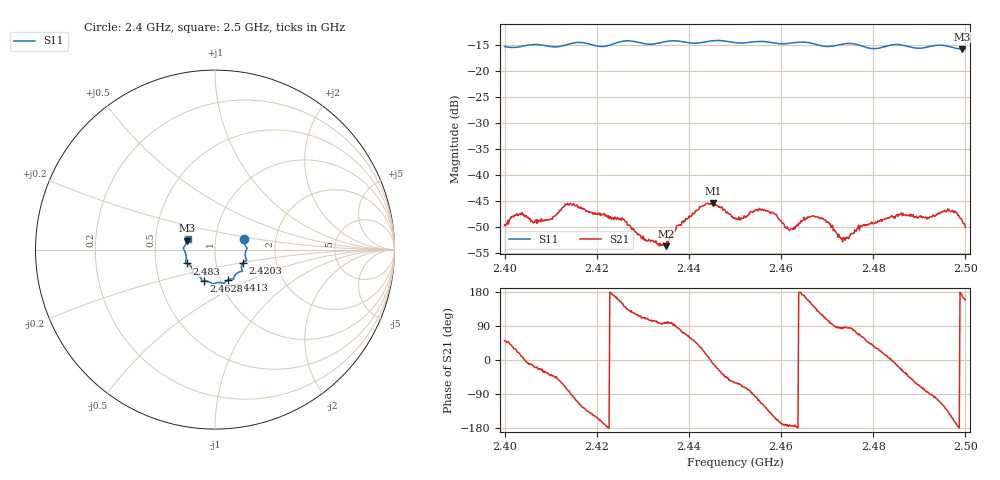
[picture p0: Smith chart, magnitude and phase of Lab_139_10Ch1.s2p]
# Hz S RI R 50
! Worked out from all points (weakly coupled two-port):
!   601 points, 2.4 GHz to 2.5 GHz, reference 50 ohm
!   highest |S21| = -45.32 dB at 2.4452 GHz (marker M1); lowest = -53.6 dB at 2.435 GHz (marker M2)
!   lowest |S11| = -15.8 dB at 2.4993 GHz (marker M3), VSWR 1.39, Z = 36.5 + j3.7 ohm
!   |S11| at or under -10 dB: start of sweep to end of sweep
!   S12 and S22 are empty: the file has one direction only
!   S11 on the Smith chart (normalised r, x): 2.4 GHz: 1.37, +0.16; 2.4203 GHz: 1.35, -0.21; 2.4413 GHz: 1.09, -0.38; 2.4628 GHz: 0.83, -0.30; 2.483 GHz: 0.72, -0.11; 2.5 GHz: 0.73, +0.09
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2.4e9  0.1608 0.0571  0.00211 0.00259  0 0  0 0
2.403e9  0.1671 0.0255  0.00388 0.00141  0 0  0 0
2.4065e9  0.1784 0.00874  0.00342 -0.00117  0 0  0 0
2.409833e9  0.1708 -0.00863  0.00289 -0.00242  0 0  0 0
2.413667e9  0.1719 -0.0488  0.00102 -0.00527  0 0  0 0
2.416667e9  0.1761 -0.0616  -0.00261 -0.00411  0 0  0 0
2.420333e9  0.1551 -0.074  -0.00391 -0.00185  0 0  0 0
2.426e9  0.1518 -0.1191  -0.00287 0.00237  0 0  0 0
2.433333e9  0.1079 -0.1485  -0.000364 0.00217  0 0  0 0
2.435e9  0.1051 -0.1591  -0.000267 0.00207  0 0  0 0
2.441333e9  0.0743 -0.1679  0.00291 0.0033  0 0  0 0
2.445167e9  0.0518 -0.187  0.00535 -0.000842  0 0  0 0
2.45e9  0.0293 -0.1837  0.00192 -0.00329  0 0  0 0
2.455833e9  -0.0114 -0.1907  -0.00196 -0.0042  0 0  0 0
2.462833e9  -0.063 -0.1748  -0.00317 -0.000233  0 0  0 0
2.466667e9  -0.0743 -0.1676  -0.00337 0.00222  0 0  0 0
2.4735e9  -0.1209 -0.1341  0.000136 0.0025  0 0  0 0
2.483e9  -0.155 -0.0769  0.00379 0.000787  0 0  0 0
2.483333e9  -0.1573 -0.0759  0.00384 0.000414  0 0  0 0
2.496667e9  -0.1686 0.0203  -0.0037 -0.00257  0 0  0 0
2.499333e9  -0.1544 0.0494  -0.00355 0.000758  0 0  0 0
2.5e9  -0.1529 0.0584  -0.00295 0.00114  0 0  0 0
